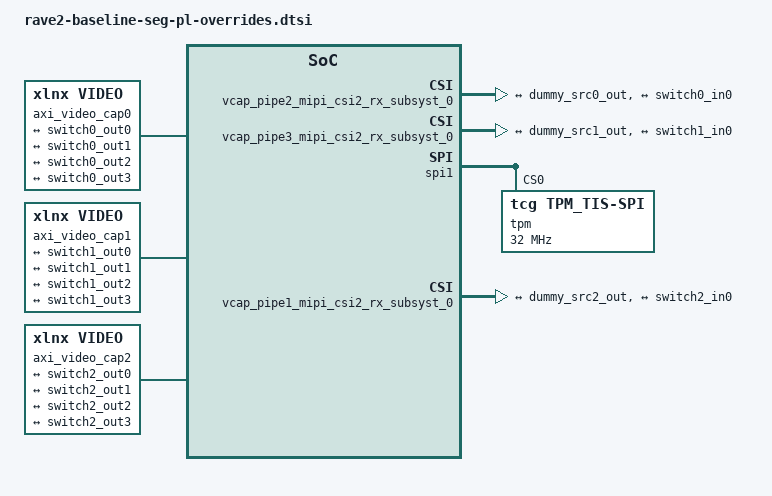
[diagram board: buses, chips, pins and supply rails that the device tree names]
// Copyright © Advanced Micro Devices, Inc., or its affiliates. All rights reserved.
// SPDX-License-Identifier: MIT
// Contributors: KC
// Maintainer: KC
&amba {

        // Using a flexible dummy sensor driver for CSI-2 connection
        vid_capture_dummy_src_0: dummy_src_0@0 {
                compatible = "xlnx,dummy_src";
                clock-names = "ap_clk";
                clocks = <&misc_clk_2>;
                xlnx,max-height = <2160>;
                xlnx,max-width = <8192>;
                xlnx,ppc = <4>;
                xlnx,s-axi-ctrl-addr-width = <8>;
                xlnx,s-axi-ctrl-data-width = <32>;
                ports {
                        #address-cells = <1>;
                        #size-cells = <0>;
                        port@0 {
                                reg = <0>;
                                xlnx,video-format = <0>;
                                xlnx,video-width = <8>;
                                dummy_src0_out: endpoint {
                                        remote-endpoint = <&csiss0_in>;
                                };
                        };
                };
	};

        // This is to enable the /dev/videoX V4L2 interfaces
        axi_video_cap0 {
                compatible = "xlnx,video";
                dmas = <&vcap_pipe2_v_frmbuf_wr_0 0>,<&vcap_pipe2_v_frmbuf_wr_1 0>,<&vcap_pipe2_v_frmbuf_wr_2 0>,<&vcap_pipe2_v_frmbuf_wr_3 0>;
                dma-names = "port0","port1","port2","port3";

                ports {
                        #address-cells = <1>;
                        #size-cells = <0>;
                        port@0 {
                                reg = <0>;
                                direction = "input";
                                vcap0_in0: endpoint {
                                        remote-endpoint = <&switch0_out0>;
                                };
                        };
                        port@1 {
                                reg = <1>;
                                direction = "input";
                                vcap0_in1: endpoint {
                                        remote-endpoint = <&switch0_out1>;
                                };
                        };
                        port@2 {
                                reg = <2>;
                                direction = "input";
                                vcap0_in2: endpoint {
                                        remote-endpoint = <&switch0_out2>;
                                };
                        };
                        port@3 {
                                reg = <3>;
                                direction = "input";
                                vcap0_in3: endpoint {
                                        remote-endpoint = <&switch0_out3>;
                                };
                        };
                };
        };


        // Using a flexible dummy sensor driver for CSI-2 connection
        vid_capture_dummy_src_1: dummy_src_1@0 {
                compatible = "xlnx,dummy_src";
                clock-names = "ap_clk";
                clocks = <&misc_clk_2>;
                xlnx,max-height = <2160>;
                xlnx,max-width = <8192>;
                xlnx,ppc = <4>;
                xlnx,s-axi-ctrl-addr-width = <8>;
                xlnx,s-axi-ctrl-data-width = <32>;
                ports {
                        #address-cells = <1>;
                        #size-cells = <0>;
                        port@0 {
                                reg = <0>;
                                xlnx,video-format = <0>;
                                xlnx,video-width = <8>;
                                dummy_src1_out: endpoint {
                                        remote-endpoint = <&csiss1_in>;
                                };
                        };
                };
	};

        // This is to enable the /dev/videoX V4L2 interfaces
        axi_video_cap1 {
                compatible = "xlnx,video";
                dmas = <&vcap_pipe3_v_frmbuf_wr_0 0>,<&vcap_pipe3_v_frmbuf_wr_1 0>,<&vcap_pipe3_v_frmbuf_wr_2 0>,<&vcap_pipe3_v_frmbuf_wr_3 0>;
                dma-names = "port0","port1","port2","port3";

                ports {
                        #address-cells = <1>;
                        #size-cells = <0>;
                        port@0 {
                                reg = <0>;
                                direction = "input";
                                vcap1_in0: endpoint {
                                        remote-endpoint = <&switch1_out0>;
                                };
                        };
                        port@1 {
                                reg = <1>;
                                direction = "input";
                                vcap1_in1: endpoint {
                                        remote-endpoint = <&switch1_out1>;
                                };
                        };
                        port@2 {
                                reg = <2>;
                                direction = "input";
                                vcap1_in2: endpoint {
                                        remote-endpoint = <&switch1_out2>;
                                };
                        };
                        port@3 {
                                reg = <3>;
                                direction = "input";
                                vcap1_in3: endpoint {
                                        remote-endpoint = <&switch1_out3>;
                                };
                        };
                };
        };

	// Using a flexible dummy sensor driver for CSI-2 connection
        vid_capture_dummy_src_2: dummy_src_2@0 {
                compatible = "xlnx,dummy_src";
                clock-names = "ap_clk";
                clocks = <&misc_clk_2>;
                xlnx,max-height = <2160>;
                xlnx,max-width = <8192>;
                xlnx,ppc = <4>;
                xlnx,s-axi-ctrl-addr-width = <8>;
                xlnx,s-axi-ctrl-data-width = <32>;
                ports {
                        #address-cells = <1>;
                        #size-cells = <0>;
                        port@0 {
                                reg = <0>;
                                xlnx,video-format = <0>;
                                xlnx,video-width = <8>;
                                dummy_src2_out: endpoint {
                                        remote-endpoint = <&csiss2_in>;
                                };
                        };
                };
	};

        // This is to enable the /dev/videoX V4L2 interfaces
        axi_video_cap2 {
                compatible = "xlnx,video";
                dmas = <&vcap_pipe1_v_frmbuf_wr_0 0>,<&vcap_pipe1_v_frmbuf_wr_1 0>,<&vcap_pipe1_v_frmbuf_wr_2 0>,<&vcap_pipe1_v_frmbuf_wr_3 0>;
                dma-names = "port0","port1","port2","port3";

                ports {
                        #address-cells = <1>;
                        #size-cells = <0>;
                        port@0 {
                                reg = <0>;
                                direction = "input";
                                vcap2_in0: endpoint {
                                        remote-endpoint = <&switch2_out0>;
                                };
                        };
                        port@1 {
                                reg = <1>;
                                direction = "input";
                                vcap2_in1: endpoint {
                                        remote-endpoint = <&switch2_out1>;
                                };
                        };
                        port@2 {
                                reg = <2>;
                                direction = "input";
                                vcap2_in2: endpoint {
                                        remote-endpoint = <&switch2_out2>;
                                };
                        };
                        port@3 {
                                reg = <3>;
                                direction = "input";
                                vcap2_in3: endpoint {
                                        remote-endpoint = <&switch2_out3>;
                                };
                        };
                };
        };


};

// Set the CSI-2 RX to use YUV422 video format
// This is DPHY 0 on IOB
&vcap_pipe2_mipi_csi2_rx_subsyst_0 {
	xlnx,csi-pxl-format = <0x1e>; //YUV
        status = "okay";
	video-reset-gpios = <&axi_gpio_rst 0xa 0x1>;
        interrupts = <0xa 0x2>;
	ports {
		#address-cells = <1>;
		#size-cells = <0>;

		port@0 {
			reg = <0>;

			xlnx,video-format = <0>;
			xlnx,video-width = <8>;

			csiss0_in: endpoint {
				data-lanes = <1 2 3 4>;
				remote-endpoint = <&dummy_src0_out>;
			};
		};
		port@1 {
			reg = <1>;

			xlnx,video-format = <0>;
			xlnx,video-width = <8>;

			csiss0_out: endpoint {
				remote-endpoint = <&switch0_in0>;
			};
		};
	};

};

// SDT is not assign clock for some reason
&vcap_pipe2_axis_switch_0 {
	//compatible = "xlnx,dummy_switch-1.0"; // Dummy Option
	clock-names = "aclk";
	clocks = <&misc_clk_2>;
	ports {
	#address-cells = <1>;
	#size-cells = <0>;
		port@0 {
			reg = <0>;
			xlnx,video-format = <0>;
			xlnx,video-width = <8>;
			switch0_in0: endpoint {
				remote-endpoint = <&csiss0_out>;
			};
		};
		port@1 {
			reg = <1>;
			xlnx,video-format = <0>;
			xlnx,video-width = <8>;
			switch0_out0: endpoint {
				remote-endpoint = <&vcap0_in0>;
			};
		};
		port@2 {
			reg = <2>;
			xlnx,video-format = <0>;
			xlnx,video-width = <8>;
			switch0_out1: endpoint {
				remote-endpoint = <&vcap0_in1>;
			};
		};
                port@3 {
			reg = <3>;
			xlnx,video-format = <0>;
			xlnx,video-width = <8>;
			switch0_out2: endpoint {
				remote-endpoint = <&vcap0_in2>;
			};
		};
                port@4 {
			reg = <4>;
			xlnx,video-format = <0>;
			xlnx,video-width = <8>;
			switch0_out3: endpoint {
				remote-endpoint = <&vcap0_in3>;
			};
		};
	};

};

// TODO - Figure out why SDT is wrong for interrupts
&vcap_pipe2_v_frmbuf_wr_0 {
	interrupts = <0xb 0x2>;
};

&vcap_pipe2_v_frmbuf_wr_1 {
	interrupts = <0xc 0x2>;
};

&vcap_pipe2_v_frmbuf_wr_2 {
	interrupts = <0xd 0x2>;
};

&vcap_pipe2_v_frmbuf_wr_3 {
	interrupts = <0xe 0x2>;
};


// Set the CSI-2 RX to use YUV422 video format
// This is DPHY 1 on IOB
&vcap_pipe3_mipi_csi2_rx_subsyst_0 {
	xlnx,csi-pxl-format = <0x1e>; //YUV
        status = "okay";
	video-reset-gpios = <&axi_gpio_rst 0xf 0x1>;
        interrupts = <0xf 0x2>;
	ports {
		#address-cells = <1>;
		#size-cells = <0>;

		port@0 {
			reg = <0>;

			xlnx,video-format = <0>;
			xlnx,video-width = <8>;

			csiss1_in: endpoint {
				data-lanes = <1 2 3 4>;
				remote-endpoint = <&dummy_src1_out>;
			};
		};
		port@1 {
			reg = <1>;

			xlnx,video-format = <0>;
			xlnx,video-width = <8>;

			csiss1_out: endpoint {
				remote-endpoint = <&switch1_in0>;
			};
		};
	};

};

// SDT is not assign clock for some reason
&vcap_pipe3_axis_switch_0 {
	//compatible = "xlnx,dummy_switch-1.0"; // Dummy Option
	clock-names = "aclk";
	clocks = <&misc_clk_2>;
	ports {
	#address-cells = <1>;
	#size-cells = <0>;
		port@0 {
			reg = <0>;
			xlnx,video-format = <0>;
			xlnx,video-width = <8>;
			switch1_in0: endpoint {
				remote-endpoint = <&csiss1_out>;
			};
		};
		port@1 {
			reg = <1>;
			xlnx,video-format = <0>;
			xlnx,video-width = <8>;
			switch1_out0: endpoint {
				remote-endpoint = <&vcap1_in0>;
			};
		};
		port@2 {
			reg = <2>;
			xlnx,video-format = <0>;
			xlnx,video-width = <8>;
			switch1_out1: endpoint {
				remote-endpoint = <&vcap1_in1>;
			};
		};
                port@3 {
			reg = <3>;
			xlnx,video-format = <0>;
			xlnx,video-width = <8>;
			switch1_out2: endpoint {
				remote-endpoint = <&vcap1_in2>;
			};
		};
                port@4 {
			reg = <4>;
			xlnx,video-format = <0>;
			xlnx,video-width = <8>;
			switch1_out3: endpoint {
				remote-endpoint = <&vcap1_in3>;
			};
		};
	};

};

// TPM module
&spi1 {
    status = "okay";

    tpm@0 {
        compatible = "tcg,tpm_tis-spi","infineon,slb9670";
        reg = <0>;
        mode = <0>;
        spi-max-frequency = <32000000>;

        status = "okay";
    };
};

// TODO - Figure out why SDT is wrong for interrupts
&vcap_pipe3_v_frmbuf_wr_0 {
	interrupts = <0x10 0x2>;
};

&vcap_pipe3_v_frmbuf_wr_1 {
	interrupts = <0x11 0x2>;
};

&vcap_pipe3_v_frmbuf_wr_2 {
	interrupts = <0x12 0x2>;
};

&vcap_pipe3_v_frmbuf_wr_3 {
	interrupts = <0x13 0x2>;
};




// Set the CSI-2 RX to use YUV422 video format
// This is DPHY 2 on IOB
&vcap_pipe1_mipi_csi2_rx_subsyst_0 {
	xlnx,csi-pxl-format = <0x1e>; //YUV
        status = "okay";
	video-reset-gpios = <&axi_gpio_rst 0x5 0x1>;
        interrupts = <0x3 0x2>;
	ports {
		#address-cells = <1>;
		#size-cells = <0>;

		port@0 {
			reg = <0>;

			xlnx,video-format = <0>;
			xlnx,video-width = <8>;

			csiss2_in: endpoint {
				data-lanes = <1 2 3 4>;
				remote-endpoint = <&dummy_src2_out>;
			};
		};
		port@1 {
			reg = <1>;

			xlnx,video-format = <0>;
			xlnx,video-width = <8>;

			csiss2_out: endpoint {
				remote-endpoint = <&switch2_in0>;
			};
		};
	};

};

// SDT is not assign clock for some reason
&vcap_pipe1_axis_switch_0 {
	//compatible = "xlnx,dummy_switch-1.0"; // Dummy Option
	clock-names = "aclk";
	clocks = <&misc_clk_2>;
	ports {
	#address-cells = <1>;
	#size-cells = <0>;
		port@0 {
			reg = <0>;
			xlnx,video-format = <0>;
			xlnx,video-width = <8>;
			switch2_in0: endpoint {
				remote-endpoint = <&csiss2_out>;
			};
		};
		port@1 {
			reg = <1>;
			xlnx,video-format = <0>;
			xlnx,video-width = <8>;
			switch2_out0: endpoint {
				remote-endpoint = <&vcap2_in0>;
			};
		};
		port@2 {
			reg = <2>;
			xlnx,video-format = <0>;
			xlnx,video-width = <8>;
			switch2_out1: endpoint {
				remote-endpoint = <&vcap2_in1>;
			};
		};
                port@3 {
			reg = <3>;
			xlnx,video-format = <0>;
			xlnx,video-width = <8>;
			switch2_out2: endpoint {
				remote-endpoint = <&vcap2_in2>;
			};
		};
                port@4 {
			reg = <4>;
			xlnx,video-format = <0>;
			xlnx,video-width = <8>;
			switch2_out3: endpoint {
				remote-endpoint = <&vcap2_in3>;
			};
		};
	};

};

// TODO - Figure out why SDT is wrong for interrupts
&vcap_pipe1_v_frmbuf_wr_0 {
	interrupts = <0x4 0x2>;
};

&vcap_pipe1_v_frmbuf_wr_1 {
	interrupts = <0x5 0x2>;
};

&vcap_pipe1_v_frmbuf_wr_2 {
	interrupts = <0x6 0x2>;
};

&vcap_pipe1_v_frmbuf_wr_3 {
	interrupts = <0x7 0x2>;
};
